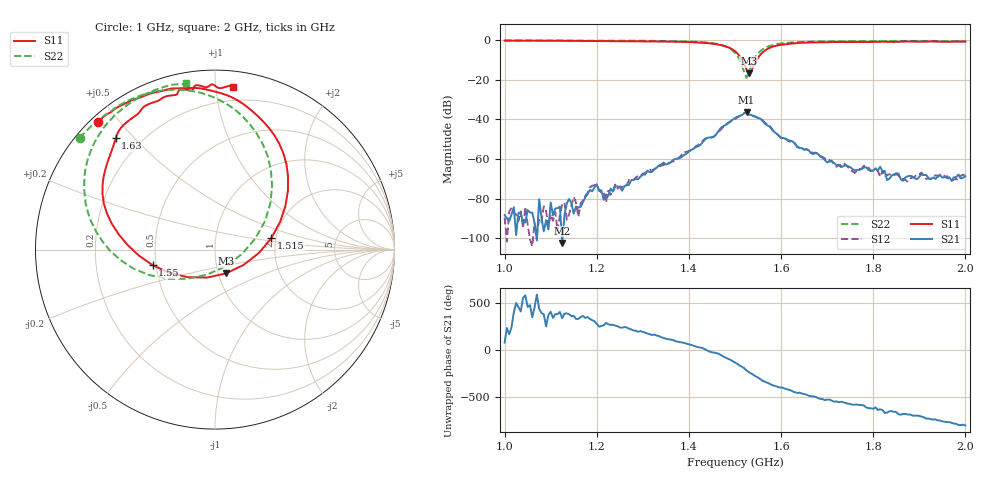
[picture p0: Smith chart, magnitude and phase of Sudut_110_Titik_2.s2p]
# Hz S RI R 50
! CMT, C1220, 16058040, 17.2.0/1
! Date: 14/08/2018 12:46:28
! Data: Format (Calibration Info)
! Freq  S11: Re/Im (F2)  S21: Re/Im (F2)  S12: Re/Im (F2)  S22: Re/Im (F2)
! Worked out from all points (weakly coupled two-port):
!   201 points, 1 GHz to 2 GHz, reference 50 ohm
!   highest |S21| = -36.49 dB at 1.525 GHz (marker M1); lowest = -102.4 dB at 1.125 GHz (marker M2)
!   lowest |S11| = -16.7 dB at 1.53 GHz (marker M3), VSWR 1.34, Z = 54.5 - j14.7 ohm
!   |S11| at or under -10 dB: 1.515 GHz to 1.547 GHz (32.02 MHz wide, 2.09 % of centre)
!   |S22| runs from -19.1 to -0.2 dB; largest |S21 - S12| = 0.00061
!   S11 on the Smith chart (normalised r, x): 1 GHz: 0.02, +0.44; 1.515 GHz: 1.89, +0.27; 1.55 GHz: 0.48, -0.10; 1.63 GHz: 0.11, +0.44; 2 GHz: 0.10, +1.11
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1e9  -0.6513 0.7131  6.82e-06 3.79e-05  -3.07e-05 1.35e-05  -0.7538 0.6216
1.125e9  -0.5277 0.801  6.95e-06 -2.98e-06  6.78e-05 2.42e-05  -0.6614 0.7136
1.17e9  -0.481 0.8238  8.12e-05 2.7e-06  8.69e-05 -2.32e-05  -0.6184 0.7466
1.2e9  -0.4385 0.8406  3.23e-05 -0.000226  7.69e-05 -0.000212  -0.5851 0.7601
1.22e9  -0.4161 0.8477  4e-05 -0.000121  1.44e-05 -7.86e-05  -0.5741 0.7739
1.24e9  -0.3799 0.8619  -3.71e-05 -0.000197  -6.13e-05 -0.000217  -0.5515 0.7919
1.255e9  -0.3559 0.8711  -8.67e-05 -0.000132  -9.86e-05 -0.00017  -0.5322 0.8039
1.335e9  -0.2182 0.8981  -0.000585 0.000362  -0.000506 0.000421  -0.404 0.8616
1.45e9  0.1828 0.7919  0.0032 -0.00135  0.00318 -0.00158  0.018 0.8367
1.5e9  0.4065 0.3289  -0.00699 -0.00815  -0.00663 -0.00767  0.3179 0.357
1.515e9  0.314 0.0639  -0.0128 -0.00103  -0.0128 -0.00139  0.2256 0.064
1.525e9  0.16 -0.085  -0.0125 0.00829  -0.0126 0.00822  0.0603 -0.0931
1.53e9  0.0617 -0.1324  -0.00803 0.0104  -0.0081 0.0105  -0.0459 -0.1399
1.55e9  -0.3469 -0.0873  0.00358 0.0101  0.00314 0.0103  -0.4534 -0.106
1.58e9  -0.6189 0.2555  0.00553 -0.000724  0.00574 -0.00101  -0.7086 0.2087
1.63e9  -0.5531 0.6211  0.000178 -0.00245  0.000299 -0.00242  -0.6958 0.5401
1.67e9  -0.4454 0.7445  -0.000827 -0.00104  -0.000859 -0.0011  -0.6275 0.6684
1.76e9  -0.2658 0.8554  -0.000416 0.000302  -0.000387 0.000215  -0.4861 0.8075
1.78e9  -0.2184 0.8617  -0.000425 0.000439  -0.000445 0.000508  -0.4575 0.8272
1.815e9  -0.1829 0.8927  -6.81e-05 0.000631  -0.000132 0.000332  -0.4085 0.8556
1.835e9  -0.1362 0.886  8.91e-05 0.000304  0.000116 0.000393  -0.3819 0.869
2e9  0.1017 0.906  9.15e-05 -0.000357  0.000141 -0.000393  -0.1598 0.9301
